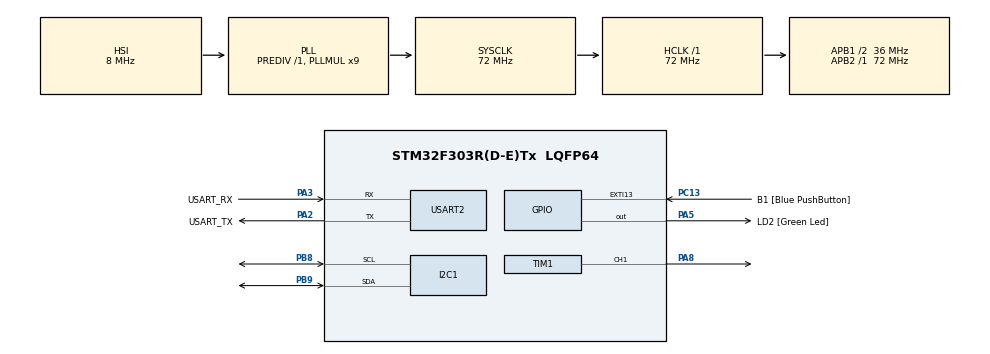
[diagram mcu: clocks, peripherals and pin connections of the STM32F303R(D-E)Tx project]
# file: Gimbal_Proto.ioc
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I2C1.Timing=0x00201D2B
Mcu.Family=STM32F3
Mcu.Name=STM32F303R(D-E)Tx
Mcu.Package=LQFP64
NVIC.PriorityGroup=NVIC_PRIORITYGROUP_0
PA13.GPIO_Label=TMS
PA13.Mode=Serial_Wire
PA13.Signal=SYS_JTMS-SWDIO
PA14.GPIO_Label=TCK
PA14.Mode=Serial_Wire
PA14.Signal=SYS_JTCK-SWCLK
PA2.GPIO_Label=USART_TX
PA2.GPIO_Mode=GPIO_MODE_AF_PP
PA2.GPIO_PuPd=GPIO_NOPULL
PA2.GPIO_Speed=GPIO_SPEED_FREQ_LOW
PA2.Mode=Asynchronous
PA2.Signal=USART2_TX
PA3.GPIO_Label=USART_RX
PA3.GPIO_Mode=GPIO_MODE_AF_PP
PA3.GPIO_PuPd=GPIO_NOPULL
PA3.GPIO_Speed=GPIO_SPEED_FREQ_LOW
PA3.Mode=Asynchronous
PA3.Signal=USART2_RX
PA5.GPIO_Label=LD2 [Green Led]
PA5.GPIO_Mode=GPIO_MODE_OUTPUT_PP
PA5.GPIO_PuPd=GPIO_NOPULL
PA5.GPIO_Speed=GPIO_SPEED_FREQ_LOW
PA5.Signal=GPIO_Output
PA8.Signal=S_TIM1_CH1
PB3.GPIO_Label=SWO
PB3.Signal=SYS_JTDO-TRACESWO
PB8.Mode=I2C
PB8.Signal=I2C1_SCL
PB9.Mode=I2C
PB9.Signal=I2C1_SDA
PC13.GPIO_Label=B1 [Blue PushButton]
PC13.GPIO_ModeDefaultEXTI=GPIO_MODE_IT_FALLING
PC13.Signal=GPXTI13
PC14-OSC32_IN.Mode=LSE-External-Oscillator
PC14-OSC32_IN.Signal=RCC_OSC32_IN
PC15-OSC32_OUT.Mode=LSE-External-Oscillator
PC15-OSC32_OUT.Signal=RCC_OSC32_OUT
PF0-OSC_IN.Mode=HSE-External-Clock-Source
PF0-OSC_IN.Signal=RCC_OSC_IN
PF1-OSC_OUT.Signal=RCC_OSC_OUT
ProjectManager.HeapSize=0x200
ProjectManager.StackSize=0x400
ProjectManager.TargetToolchain=CMake
RCC.AHBFreq_Value=72000000
RCC.APB1CLKDivider=RCC_HCLK_DIV2
RCC.APB1Freq_Value=36000000
RCC.APB1TimFreq_Value=72000000
RCC.APB2Freq_Value=72000000
RCC.APB2TimFreq_Value=72000000
RCC.CortexFreq_Value=72000000
RCC.HCLKFreq_Value=72000000
RCC.HSE_VALUE=8000000
RCC.HSI_VALUE=8000000
RCC.PLLM=8
RCC.PLLMUL=RCC_PLL_MUL9
RCC.PLLN=336
RCC.PLLP=RCC_PLLP_DIV4
RCC.PLLQ=7
RCC.RCC_PLLsource_Clock_Source_FROM_HSE=RCC_HSE_PREDIV_DIV2
RCC.SYSCLKFreq_VALUE=72000000
RCC.SYSCLKSourceVirtual=RCC_SYSCLKSOURCE_PLLCLK
RCC.USBFreq_Value=72000000
SH.S_TIM1_CH1.0=TIM1_CH1,PWM Generation1 CH1
TIM1.Channel-PWM\ Generation1\ CH1=TIM_CHANNEL_1
TIM1.Period=1999
TIM1.Prescaler=71
TIM1.Pulse-PWM\ Generation1\ CH1=1500
USART2.VirtualMode-Asynchronous=VM_ASYNC
VP_TIM1_VS_ClockSourceINT.Mode=Internal
board=NUCLEO-F303RE

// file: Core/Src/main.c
/* USER CODE BEGIN Header */
/**
  ******************************************************************************
  * @file           : main.c
  * @brief          : Main program body
  ******************************************************************************
  * @attention
  *
  * Copyright (c) 2026 STMicroelectronics.
  * All rights reserved.
  *
  * This software is licensed under terms that can be found in the LICENSE file
  * in the root directory of this software component.
  * If no LICENSE file comes with this software, it is provided AS-IS.
  *
  ******************************************************************************
  */
/* USER CODE END Header */
#include "main.h"

/* USER CODE BEGIN Includes */
#include "ssd1306.h"
#include <stdio.h>
#include <stdlib.h>
/* USER CODE END Includes */

I2C_HandleTypeDef hi2c1;

TIM_HandleTypeDef htim1;

UART_HandleTypeDef huart2;

/* USER CODE BEGIN PV */
#define MPU6050_ADDR 0xD0

volatile int16_t Accel_X_RAW;
int32_t Filtered_X = 0;
uint8_t rec_data[6];
char display_buf[32];
/* USER CODE END PV */

void SystemClock_Config(void);
static void MX_GPIO_Init(void);
static void MX_I2C1_Init(void);
static void MX_TIM1_Init(void);
static void MX_USART2_UART_Init(void);

int main(void)
{

  /* MCU Configuration--------------------------------------------------------*/

  /* Reset of all peripherals, Initializes the Flash interface and the Systick. */
  HAL_Init();

  /* Configure the system clock */
  SystemClock_Config();

  /* Initialize all configured peripherals */
  MX_GPIO_Init();
  MX_I2C1_Init();
  MX_TIM1_Init();
  MX_USART2_UART_Init();
  /* USER CODE BEGIN 2 */
  HAL_TIM_PWM_Start(&htim1, TIM_CHANNEL_1);

  // 2. Ініціалізація Екрану
  SSD1306_Init();
  SSD1306_Fill(Black);
  SSD1306_SetCursor(10, 10);
  SSD1306_WriteString("GIMBAL INIT...", White);
  SSD1306_UpdateScreen();
  HAL_Delay(1000);

  // 3. Ініціалізація MPU6050 (Вихід зі сну)
  uint8_t check_data = 0;
  // Якщо датчик не відповідає - зависаємо і пишемо помилку
  if (HAL_I2C_Mem_Write(&hi2c1, MPU6050_ADDR, 0x6B, 1, &check_data, 1, 1000) != HAL_OK)
  {
      SSD1306_Fill(Black);
      SSD1306_SetCursor(0, 0);
      SSD1306_WriteString("MPU ERROR!", White);
      SSD1306_UpdateScreen();
      while(1);
  }
  /* USER CODE END 2 */

  /* Infinite loop */
  /* USER CODE BEGIN WHILE */
  while (1)
  {
    // --- КРОК 1: Читання Даних ---
    if (HAL_I2C_Mem_Read(&hi2c1, MPU6050_ADDR, 0x3B, 1, rec_data, 2, 100) == HAL_OK)
    {
        Accel_X_RAW = (int16_t)(rec_data[0] << 8 | rec_data[1]);

        // --- КРОК 1.5: ФІЛЬТРАЦІЯ (Згладжування) ---
        // Формула: Беремо 9 частин старого значення і 1 частину нового.
        // Це прибирає різкі стрибки (шум).
        Filtered_X = (Filtered_X * 9 + Accel_X_RAW) / 10;

        // --- КРОК 2: Математика ---
        // Тепер використовуємо Filtered_X замість Accel_X_RAW
        int servo_val = 1500 - (Filtered_X / 16);

        // Обмеження механіки
        if (servo_val > 2400) servo_val = 2400;
        if (servo_val < 600)  servo_val = 600;

        // --- КРОК 3: Рух мотора ---
        __HAL_TIM_SET_COMPARE(&htim1, TIM_CHANNEL_1, servo_val);

        // --- КРОК 4: Вивід на екран ---
        SSD1306_Fill(Black);

        SSD1306_SetCursor(0, 0);
        SSD1306_WriteString("GIMBAL STABLE", White);

        // Виводимо вже згладжене значення
        sprintf(display_buf, "Angle: %ld", Filtered_X);
        SSD1306_SetCursor(0, 20);
        SSD1306_WriteString(display_buf, White);

        sprintf(display_buf, "Servo: %d", servo_val);
        SSD1306_SetCursor(0, 40);
        SSD1306_WriteString(display_buf, White);

        SSD1306_UpdateScreen();

        HAL_GPIO_TogglePin(LD2_GPIO_Port, LD2_Pin);
    }
    else
    {
        // Помилка I2C (відійшов дріт)
        SSD1306_Fill(Black);
        SSD1306_SetCursor(0, 20);
        SSD1306_WriteString("I2C LOST...", White);
        SSD1306_UpdateScreen();

        // Спроба перезапуску шини
        HAL_I2C_DeInit(&hi2c1);
        HAL_Delay(10);
        HAL_I2C_Init(&hi2c1);
    }

    HAL_Delay(20);
    /* USER CODE END WHILE */

  }
}

void SystemClock_Config(void)
{
  RCC_OscInitTypeDef RCC_OscInitStruct = {0};
  RCC_ClkInitTypeDef RCC_ClkInitStruct = {0};
  RCC_PeriphCLKInitTypeDef PeriphClkInit = {0};

  /** Initializes the RCC Oscillators according to the specified parameters
  * in the RCC_OscInitTypeDef structure.
  */
  RCC_OscInitStruct.OscillatorType = RCC_OSCILLATORTYPE_HSI;
  RCC_OscInitStruct.HSIState = RCC_HSI_ON;
  RCC_OscInitStruct.HSICalibrationValue = RCC_HSICALIBRATION_DEFAULT;
  RCC_OscInitStruct.PLL.PLLState = RCC_PLL_ON;
  RCC_OscInitStruct.PLL.PLLSource = RCC_PLLSOURCE_HSI;
  RCC_OscInitStruct.PLL.PLLMUL = RCC_PLL_MUL9;
  RCC_OscInitStruct.PLL.PREDIV = RCC_PREDIV_DIV1;
  if (HAL_RCC_OscConfig(&RCC_OscInitStruct) != HAL_OK)
  {
    Error_Handler();
  }

  /** Initializes the CPU, AHB and APB buses clocks
  */
  RCC_ClkInitStruct.ClockType = RCC_CLOCKTYPE_HCLK|RCC_CLOCKTYPE_SYSCLK
                              |RCC_CLOCKTYPE_PCLK1|RCC_CLOCKTYPE_PCLK2;
  RCC_ClkInitStruct.SYSCLKSource = RCC_SYSCLKSOURCE_PLLCLK;
  RCC_ClkInitStruct.AHBCLKDivider = RCC_SYSCLK_DIV1;
  RCC_ClkInitStruct.APB1CLKDivider = RCC_HCLK_DIV2;
  RCC_ClkInitStruct.APB2CLKDivider = RCC_HCLK_DIV1;

  if (HAL_RCC_ClockConfig(&RCC_ClkInitStruct, FLASH_LATENCY_2) != HAL_OK)
  {
    Error_Handler();
  }
  PeriphClkInit.PeriphClockSelection = RCC_PERIPHCLK_USART2|RCC_PERIPHCLK_I2C1
                              |RCC_PERIPHCLK_TIM1;
  PeriphClkInit.Usart2ClockSelection = RCC_USART2CLKSOURCE_PCLK1;
  PeriphClkInit.I2c1ClockSelection = RCC_I2C1CLKSOURCE_HSI;
  PeriphClkInit.Tim1ClockSelection = RCC_TIM1CLK_HCLK;
  if (HAL_RCCEx_PeriphCLKConfig(&PeriphClkInit) != HAL_OK)
  {
    Error_Handler();
  }
}

static void MX_I2C1_Init(void)
{

  hi2c1.Instance = I2C1;
  hi2c1.Init.Timing = 0x00201D2B;
  hi2c1.Init.OwnAddress1 = 0;
  hi2c1.Init.AddressingMode = I2C_ADDRESSINGMODE_7BIT;
  hi2c1.Init.DualAddressMode = I2C_DUALADDRESS_DISABLE;
  hi2c1.Init.OwnAddress2 = 0;
  hi2c1.Init.OwnAddress2Masks = I2C_OA2_NOMASK;
  hi2c1.Init.GeneralCallMode = I2C_GENERALCALL_DISABLE;
  hi2c1.Init.NoStretchMode = I2C_NOSTRETCH_DISABLE;
  if (HAL_I2C_Init(&hi2c1) != HAL_OK)
  {
    Error_Handler();
  }

  /** Configure Analogue filter
  */
  if (HAL_I2CEx_ConfigAnalogFilter(&hi2c1, I2C_ANALOGFILTER_ENABLE) != HAL_OK)
  {
    Error_Handler();
  }

  /** Configure Digital filter
  */
  if (HAL_I2CEx_ConfigDigitalFilter(&hi2c1, 0) != HAL_OK)
  {
    Error_Handler();
  }

}

static void MX_TIM1_Init(void)
{

  TIM_ClockConfigTypeDef sClockSourceConfig = {0};
  TIM_MasterConfigTypeDef sMasterConfig = {0};
  TIM_OC_InitTypeDef sConfigOC = {0};
  TIM_BreakDeadTimeConfigTypeDef sBreakDeadTimeConfig = {0};

  htim1.Instance = TIM1;
  htim1.Init.Prescaler = 71;
  htim1.Init.CounterMode = TIM_COUNTERMODE_UP;
  htim1.Init.Period = 1999;
  htim1.Init.ClockDivision = TIM_CLOCKDIVISION_DIV1;
  htim1.Init.RepetitionCounter = 0;
  htim1.Init.AutoReloadPreload = TIM_AUTORELOAD_PRELOAD_DISABLE;
  if (HAL_TIM_Base_Init(&htim1) != HAL_OK)
  {
    Error_Handler();
  }
  sClockSourceConfig.ClockSource = TIM_CLOCKSOURCE_INTERNAL;
  if (HAL_TIM_ConfigClockSource(&htim1, &sClockSourceConfig) != HAL_OK)
  {
    Error_Handler();
  }
  if (HAL_TIM_PWM_Init(&htim1) != HAL_OK)
  {
    Error_Handler();
  }
  sMasterConfig.MasterOutputTrigger = TIM_TRGO_RESET;
  sMasterConfig.MasterOutputTrigger2 = TIM_TRGO2_RESET;
  sMasterConfig.MasterSlaveMode = TIM_MASTERSLAVEMODE_DISABLE;
  if (HAL_TIMEx_MasterConfigSynchronization(&htim1, &sMasterConfig) != HAL_OK)
  {
    Error_Handler();
  }
  sConfigOC.OCMode = TIM_OCMODE_PWM1;
  sConfigOC.Pulse = 1500;
  sConfigOC.OCPolarity = TIM_OCPOLARITY_HIGH;
  sConfigOC.OCNPolarity = TIM_OCNPOLARITY_HIGH;
  sConfigOC.OCFastMode = TIM_OCFAST_DISABLE;
  sConfigOC.OCIdleState = TIM_OCIDLESTATE_RESET;
  sConfigOC.OCNIdleState = TIM_OCNIDLESTATE_RESET;
  if (HAL_TIM_PWM_ConfigChannel(&htim1, &sConfigOC, TIM_CHANNEL_1) != HAL_OK)
  {
    Error_Handler();
  }
  sBreakDeadTimeConfig.OffStateRunMode = TIM_OSSR_DISABLE;
  sBreakDeadTimeConfig.OffStateIDLEMode = TIM_OSSI_DISABLE;
  sBreakDeadTimeConfig.LockLevel = TIM_LOCKLEVEL_OFF;
  sBreakDeadTimeConfig.DeadTime = 0;
  sBreakDeadTimeConfig.BreakState = TIM_BREAK_DISABLE;
  sBreakDeadTimeConfig.BreakPolarity = TIM_BREAKPOLARITY_HIGH;
  sBreakDeadTimeConfig.BreakFilter = 0;
  sBreakDeadTimeConfig.Break2State = TIM_BREAK2_DISABLE;
  sBreakDeadTimeConfig.Break2Polarity = TIM_BREAK2POLARITY_HIGH;
  sBreakDeadTimeConfig.Break2Filter = 0;
  sBreakDeadTimeConfig.AutomaticOutput = TIM_AUTOMATICOUTPUT_DISABLE;
  if (HAL_TIMEx_ConfigBreakDeadTime(&htim1, &sBreakDeadTimeConfig) != HAL_OK)
  {
    Error_Handler();
  }
  HAL_TIM_MspPostInit(&htim1);

}

static void MX_USART2_UART_Init(void)
{

  huart2.Instance = USART2;
  huart2.Init.BaudRate = 38400;
  huart2.Init.WordLength = UART_WORDLENGTH_8B;
  huart2.Init.StopBits = UART_STOPBITS_1;
  huart2.Init.Parity = UART_PARITY_NONE;
  huart2.Init.Mode = UART_MODE_TX_RX;
  huart2.Init.HwFlowCtl = UART_HWCONTROL_NONE;
  huart2.Init.OverSampling = UART_OVERSAMPLING_16;
  huart2.Init.OneBitSampling = UART_ONE_BIT_SAMPLE_DISABLE;
  huart2.AdvancedInit.AdvFeatureInit = UART_ADVFEATURE_NO_INIT;
  if (HAL_UART_Init(&huart2) != HAL_OK)
  {
    Error_Handler();
  }

}

static void MX_GPIO_Init(void)
{
  GPIO_InitTypeDef GPIO_InitStruct = {0};

  /* GPIO Ports Clock Enable */
  __HAL_RCC_GPIOC_CLK_ENABLE();
  __HAL_RCC_GPIOF_CLK_ENABLE();
  __HAL_RCC_GPIOA_CLK_ENABLE();
  __HAL_RCC_GPIOB_CLK_ENABLE();

  /*Configure GPIO pin Output Level */
  HAL_GPIO_WritePin(LD2_GPIO_Port, LD2_Pin, GPIO_PIN_RESET);

  /*Configure GPIO pin : B1_Pin */
  GPIO_InitStruct.Pin = B1_Pin;
  GPIO_InitStruct.Mode = GPIO_MODE_IT_FALLING;
  GPIO_InitStruct.Pull = GPIO_NOPULL;
  HAL_GPIO_Init(B1_GPIO_Port, &GPIO_InitStruct);

  /*Configure GPIO pin : LD2_Pin */
  GPIO_InitStruct.Pin = LD2_Pin;
  GPIO_InitStruct.Mode = GPIO_MODE_OUTPUT_PP;
  GPIO_InitStruct.Pull = GPIO_NOPULL;
  GPIO_InitStruct.Speed = GPIO_SPEED_FREQ_LOW;
  HAL_GPIO_Init(LD2_GPIO_Port, &GPIO_InitStruct);

}

void Error_Handler(void)
{
  __disable_irq();
  while (1)
  {
  }
}
